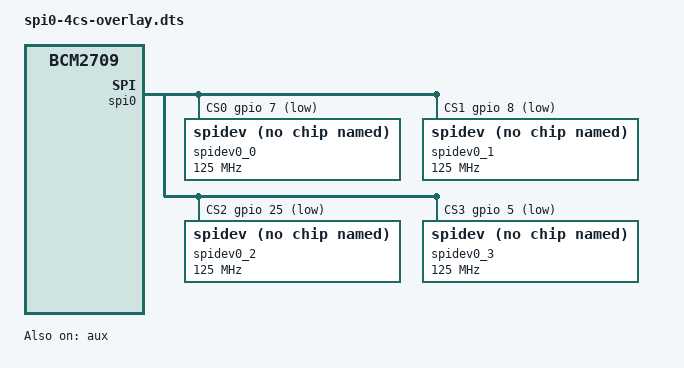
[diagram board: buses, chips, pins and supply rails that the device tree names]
/dts-v1/;
/plugin/;


/ {
	compatible = "brcm,bcm2835", "brcm,bcm2836", "brcm,bcm2708", "brcm,bcm2709";

	fragment@0 {
		target = <&gpio>;
		__overlay__ {
			spi0_cs_pins: spi0_cs_pins {
				brcm,pins = <7 8 25 5>;
				brcm,function = <1>; /* output */
			};
		};
	};

	fragment@1 {
		target = <&spi0>;
		frag1: __overlay__ {
			/* needed to avoid dtc warning */
			#address-cells = <1>;
			#size-cells = <0>;
			pinctrl-names = "default";
			pinctrl-0 = <&spi0_pins &spi0_cs_pins>;
			cs-gpios = <&gpio 7 1>, <&gpio 8 1>, <&gpio 25 1>, <&gpio 5 1>;
			status = "okay";

			spidev0_0: spidev@0 {
				compatible = "spidev";
				reg = <0>;      /* CE0 */
				#address-cells = <1>;
				#size-cells = <0>;
				spi-max-frequency = <125000000>;
				status = "okay";
			};
			
			spidev0_1: spidev@1 {
				compatible = "spidev";
				reg = <1>;      /* CE1 */
				#address-cells = <1>;
				#size-cells = <0>;
				spi-max-frequency = <125000000>;
				status = "okay";
			};
			
			spidev0_2: spidev@2 {
				compatible = "spidev";
				reg = <2>;      /* CE2 */
				#address-cells = <1>;
				#size-cells = <0>;
				spi-max-frequency = <125000000>;
				status = "okay";
			};
			
			spidev0_3: spidev@3 {
				compatible = "spidev";
				reg = <3>;      /* CE3 */
				#address-cells = <1>;
				#size-cells = <0>;
				spi-max-frequency = <125000000>;
				status = "okay";
			};
		};
	};

	fragment@2 {
		target = <&aux>;
		__overlay__ {
			status = "okay";
		};
	};

	__overrides__ {
		cs0_pin  = <&spi0_cs_pins>,"brcm,pins:0", <&frag1>,"cs-gpios:4";
		cs1_pin  = <&spi0_cs_pins>,"brcm,pins:4", <&frag1>,"cs-gpios:16";
		cs2_pin  = <&spi0_cs_pins>,"brcm,pins:8", <&frag1>,"cs-gpios:28";
		cs3_pin  = <&spi0_cs_pins>,"brcm,pins:12", <&frag1>,"cs-gpios:40";
		cs0_spidev = <&spidev0_0>,"status";
		cs1_spidev = <&spidev0_1>,"status";
		cs2_spidev = <&spidev0_2>,"status";
		cs3_spidev = <&spidev0_3>,"status";
	};
};
